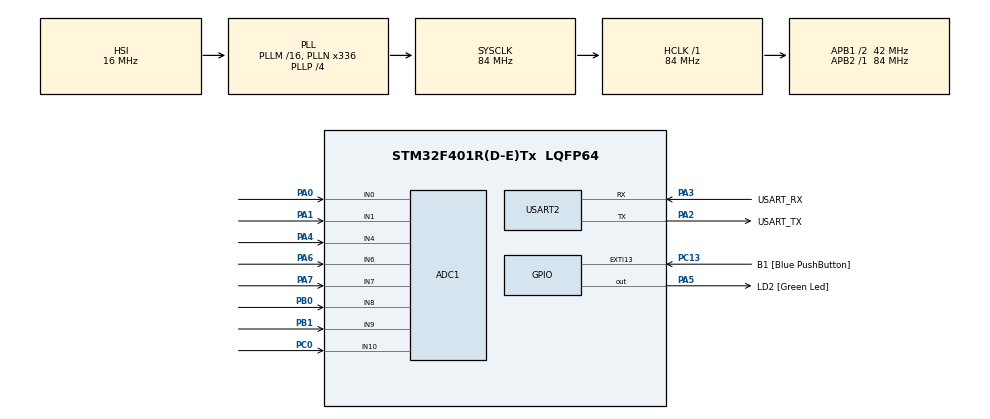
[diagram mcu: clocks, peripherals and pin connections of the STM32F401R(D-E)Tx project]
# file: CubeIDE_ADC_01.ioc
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Mcu.Family=STM32F4
PA2.GPIO_PuPd=GPIO_NOPULL
RCC.CortexFreq_Value=84000000
PA14.GPIO_Label=TCK
PA3.GPIO_PuPd=GPIO_NOPULL
PA2.GPIO_Speed=GPIO_SPEED_FREQ_LOW
PA3.GPIO_Speed=GPIO_SPEED_FREQ_LOW
RCC.SYSCLKSource=RCC_SYSCLKSOURCE_PLLCLK
ProjectManager.StackSize=0x400
PH0\ -\ OSC_IN.Signal=RCC_OSC_IN
RCC.HCLKFreq_Value=84000000
RCC.APB2TimFreq_Value=84000000
RCC.AHBFreq_Value=84000000
ADC1.Channel-0\#ChannelRegularConversion=ADC_CHANNEL_0
RCC.HSE_VALUE=8000000
PC13-ANTI_TAMP.Signal=GPXTI13
PC14-OSC32_IN.Mode=LSE-External-Oscillator
PA14.Mode=Serial_Wire
PA5.GPIO_PuPd=GPIO_NOPULL
SH.ADCx_IN8.0=ADC1_IN8,IN8
SH.ADCx_IN0.0=ADC1_IN0,IN0
ADC1.SamplingTime-0\#ChannelRegularConversion=ADC_SAMPLETIME_3CYCLES
Mcu.Package=LQFP64
PA6.Signal=ADCx_IN6
PB1.Signal=ADCx_IN9
USART2.VirtualMode=VM_ASYNC
PA2.GPIO_Label=USART_TX
SH.ADCx_IN9.0=ADC1_IN9,IN9
SH.ADCx_IN1.0=ADC1_IN1,IN1
RCC.APB1TimFreq_Value=84000000
PA3.Signal=USART2_RX
PA2.GPIO_Mode=GPIO_MODE_AF_PP
PB3.GPIO_Label=SWO
PC15-OSC32_OUT.Mode=LSE-External-Oscillator
ADC1.Rank-0\#ChannelRegularConversion=1
PC13-ANTI_TAMP.GPIO_PuPd=GPIO_NOPULL
SH.ADCx_IN6.0=ADC1_IN6,IN6
PC13-ANTI_TAMP.GPIO_Label=B1 [Blue PushButton]
PH1\ -\ OSC_OUT.Mode=HSE-External-Clock-Source
PC0.Signal=ADCx_IN10
RCC.APB1CLKDivider=RCC_HCLK_DIV2
PC14-OSC32_IN.Signal=RCC_OSC32_IN
PA0-WKUP.Signal=ADCx_IN0
PA13.Signal=SYS_JTMS-SWDIO
PA3.Mode=Asynchronous
PH0\ -\ OSC_IN.Mode=HSE-External-Clock-Source
ProjectManager.TargetToolchain=STM32CubeIDE
SH.ADCx_IN7.0=ADC1_IN7,IN7
PA3.GPIO_Mode=GPIO_MODE_AF_PP
PC15-OSC32_OUT.Signal=RCC_OSC32_OUT
PA1.Signal=ADCx_IN1
PA5.Signal=GPIO_Output
PH1\ -\ OSC_OUT.Signal=RCC_OSC_OUT
board=NUCLEO-F401RE
RCC.VCOOutputFreq_Value=336000000
RCC.APB2Freq_Value=84000000
SH.ADCx_IN4.0=ADC1_IN4,IN4
PA13.Mode=Serial_Wire
Mcu.Name=STM32F401R(D-E)Tx
PA13.GPIO_Label=TMS
PA2.Signal=USART2_TX
RCC.48MHZClocksFreq_Value=48000000
PB3.Signal=SYS_JTDO-SWO
PA4.Signal=ADCx_IN4
RCC.SYSCLKFreq_VALUE=84000000
ADC1.master=1
PA5.GPIO_Label=LD2 [Green Led]
PC13-ANTI_TAMP.GPIO_ModeDefaultEXTI=GPIO_MODE_IT_FALLING
PA14.Signal=SYS_JTCK-SWCLK
SH.ADCx_IN10.0=ADC1_IN10,IN10
ProjectManager.HeapSize=0x200
RCC.HSI_VALUE=16000000
RCC.PLLP=RCC_PLLP_DIV4
PA5.GPIO_Speed=GPIO_SPEED_FREQ_LOW
RCC.PLLQ=7
NVIC.PriorityGroup=NVIC_PRIORITYGROUP_0
ADC1.NbrOfConversionFlag=1
RCC.PLLN=336
PA2.Mode=Asynchronous
RCC.APB1Freq_Value=42000000
PA5.GPIO_Mode=GPIO_MODE_OUTPUT_PP
PB0.Signal=ADCx_IN8
PA3.GPIO_Label=USART_RX
PA7.Signal=ADCx_IN7

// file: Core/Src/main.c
/* USER CODE BEGIN Header */
/**
  ******************************************************************************
  * @file           : main.c
  * @brief          : Main program body
  ******************************************************************************
  * @attention
  *
  * <h2><center>&copy; Copyright (c) 2021 STMicroelectronics.
  * All rights reserved.</center></h2>
  *
  * This software component is licensed by ST under BSD 3-Clause license,
  * the "License"; You may not use this file except in compliance with the
  * License. You may obtain a copy of the License at:
  *                        opensource.org/licenses/BSD-3-Clause
  *
  ******************************************************************************
  */
/* USER CODE END Header */
#include "main.h"

/* USER CODE BEGIN Includes */
#include "stdio.h"
#include "string.h"
/* USER CODE END Includes */

ADC_HandleTypeDef hadc1;

UART_HandleTypeDef huart2;

void SystemClock_Config(void);
static void MX_GPIO_Init(void);
static void MX_USART2_UART_Init(void);
static void MX_ADC1_Init(void);

int main(void)
{
  /* USER CODE BEGIN 1 */
	unsigned char tmp_ch[100];
	uint32_t SS[10];
  /* USER CODE END 1 */

  /* MCU Configuration--------------------------------------------------------*/

  /* Reset of all peripherals, Initializes the Flash interface and the Systick. */
  HAL_Init();

  /* Configure the system clock */
  SystemClock_Config();

  /* Initialize all configured peripherals */
  MX_GPIO_Init();
  MX_USART2_UART_Init();
  MX_ADC1_Init();
  /* USER CODE BEGIN 2 */
  ADC_ChannelConfTypeDef sConfig0 = {0};
  sConfig0.Channel = ADC_CHANNEL_0;
  sConfig0.Rank = 1;
  sConfig0.SamplingTime = ADC_SAMPLETIME_3CYCLES;

  /* USER CODE END 2 */

  /* Infinite loop */
  /* USER CODE BEGIN WHILE */
  while (1)
  {
	  HAL_ADC_Stop(&hadc1);
	  sConfig0.Channel = ADC_CHANNEL_0;
	  HAL_ADC_ConfigChannel(&hadc1, &sConfig0);
	  HAL_ADC_Start(&hadc1);
	  //HAL_ADC_PollForConversion(&hadc1, 1);
	  while(!(__HAL_ADC_GET_FLAG(&hadc1, ADC_SR_EOC))){}
	  SS[0] = HAL_ADC_GetValue(&hadc1);
	  HAL_ADC_Stop(&hadc1);
	  HAL_Delay(1);

	  sConfig0.Channel = ADC_CHANNEL_1;
	  HAL_ADC_ConfigChannel(&hadc1, &sConfig0);
	  HAL_ADC_Start(&hadc1);
	  HAL_ADC_PollForConversion(&hadc1, 1);
	  //while(!(__HAL_ADC_GET_FLAG(&hadc1, ADC_SR_EOC))){}
	  SS[1] = HAL_ADC_GetValue(&hadc1);
	  HAL_ADC_Stop(&hadc1);
	  HAL_Delay(1);

	  sConfig0.Channel = ADC_CHANNEL_4;
	  HAL_ADC_ConfigChannel(&hadc1, &sConfig0);
	  HAL_ADC_Start(&hadc1);
	  HAL_ADC_PollForConversion(&hadc1, 1);
	  //while(!(__HAL_ADC_GET_FLAG(&hadc1, ADC_SR_EOC))){}
	  SS[2] = HAL_ADC_GetValue(&hadc1);
	  HAL_ADC_Stop(&hadc1);
	  HAL_Delay(1);

	  sConfig0.Channel = ADC_CHANNEL_6;
	  HAL_ADC_ConfigChannel(&hadc1, &sConfig0);
	  HAL_ADC_Start(&hadc1);
	  HAL_ADC_PollForConversion(&hadc1, 1);
	  SS[3] = HAL_ADC_GetValue(&hadc1);
	  HAL_ADC_Stop(&hadc1);

	  sConfig0.Channel = ADC_CHANNEL_7;
	  HAL_ADC_ConfigChannel(&hadc1, &sConfig0);
	  HAL_ADC_Start(&hadc1);
	  HAL_ADC_PollForConversion(&hadc1, 1);
	  SS[4] = HAL_ADC_GetValue(&hadc1);
	  HAL_ADC_Stop(&hadc1);

	  sConfig0.Channel = ADC_CHANNEL_8;
	  HAL_ADC_ConfigChannel(&hadc1, &sConfig0);
	  HAL_ADC_Start(&hadc1);
	  HAL_ADC_PollForConversion(&hadc1, 1);
	  SS[5] = HAL_ADC_GetValue(&hadc1);
	  HAL_ADC_Stop(&hadc1);

	  sConfig0.Channel = ADC_CHANNEL_9;
	  HAL_ADC_ConfigChannel(&hadc1, &sConfig0);
	  HAL_ADC_Start(&hadc1);
	  HAL_ADC_PollForConversion(&hadc1, 1);
	  SS[6] = HAL_ADC_GetValue(&hadc1);
	  HAL_ADC_Stop(&hadc1);

	  sConfig0.Channel = ADC_CHANNEL_10;
	  HAL_ADC_ConfigChannel(&hadc1, &sConfig0);
	  HAL_ADC_Start(&hadc1);
	  HAL_ADC_PollForConversion(&hadc1, 1);
	  SS[7] = HAL_ADC_GetValue(&hadc1);
	  HAL_ADC_Stop(&hadc1);

	  sprintf(&tmp_ch,"%d %d %d %d %d %d %d %d \n",SS[0],SS[1],SS[2],SS[3],SS[4],SS[5],SS[6],SS[7]);
	  HAL_UART_Transmit(&huart2, tmp_ch,strlen(tmp_ch), 1000);
	  HAL_Delay(100);
    /* USER CODE END WHILE */

  }
}

void SystemClock_Config(void)
{
  RCC_OscInitTypeDef RCC_OscInitStruct = {0};
  RCC_ClkInitTypeDef RCC_ClkInitStruct = {0};

  /** Configure the main internal regulator output voltage
  */
  __HAL_RCC_PWR_CLK_ENABLE();
  __HAL_PWR_VOLTAGESCALING_CONFIG(PWR_REGULATOR_VOLTAGE_SCALE2);
  /** Initializes the RCC Oscillators according to the specified parameters
  * in the RCC_OscInitTypeDef structure.
  */
  RCC_OscInitStruct.OscillatorType = RCC_OSCILLATORTYPE_HSI;
  RCC_OscInitStruct.HSIState = RCC_HSI_ON;
  RCC_OscInitStruct.HSICalibrationValue = RCC_HSICALIBRATION_DEFAULT;
  RCC_OscInitStruct.PLL.PLLState = RCC_PLL_ON;
  RCC_OscInitStruct.PLL.PLLSource = RCC_PLLSOURCE_HSI;
  RCC_OscInitStruct.PLL.PLLM = 16;
  RCC_OscInitStruct.PLL.PLLN = 336;
  RCC_OscInitStruct.PLL.PLLP = RCC_PLLP_DIV4;
  RCC_OscInitStruct.PLL.PLLQ = 7;
  if (HAL_RCC_OscConfig(&RCC_OscInitStruct) != HAL_OK)
  {
    Error_Handler();
  }
  /** Initializes the CPU, AHB and APB buses clocks
  */
  RCC_ClkInitStruct.ClockType = RCC_CLOCKTYPE_HCLK|RCC_CLOCKTYPE_SYSCLK
                              |RCC_CLOCKTYPE_PCLK1|RCC_CLOCKTYPE_PCLK2;
  RCC_ClkInitStruct.SYSCLKSource = RCC_SYSCLKSOURCE_PLLCLK;
  RCC_ClkInitStruct.AHBCLKDivider = RCC_SYSCLK_DIV1;
  RCC_ClkInitStruct.APB1CLKDivider = RCC_HCLK_DIV2;
  RCC_ClkInitStruct.APB2CLKDivider = RCC_HCLK_DIV1;

  if (HAL_RCC_ClockConfig(&RCC_ClkInitStruct, FLASH_LATENCY_2) != HAL_OK)
  {
    Error_Handler();
  }
}

static void MX_ADC1_Init(void)
{

  ADC_ChannelConfTypeDef sConfig = {0};

  /** Configure the global features of the ADC (Clock, Resolution, Data Alignment and number of conversion)
  */
  hadc1.Instance = ADC1;
  hadc1.Init.ClockPrescaler = ADC_CLOCK_SYNC_PCLK_DIV4;
  hadc1.Init.Resolution = ADC_RESOLUTION_12B;
  hadc1.Init.ScanConvMode = DISABLE;
  hadc1.Init.ContinuousConvMode = DISABLE;
  hadc1.Init.DiscontinuousConvMode = DISABLE;
  hadc1.Init.ExternalTrigConvEdge = ADC_EXTERNALTRIGCONVEDGE_NONE;
  hadc1.Init.ExternalTrigConv = ADC_SOFTWARE_START;
  hadc1.Init.DataAlign = ADC_DATAALIGN_RIGHT;
  hadc1.Init.NbrOfConversion = 1;
  hadc1.Init.DMAContinuousRequests = DISABLE;
  hadc1.Init.EOCSelection = ADC_EOC_SINGLE_CONV;
  if (HAL_ADC_Init(&hadc1) != HAL_OK)
  {
    Error_Handler();
  }
  /** Configure for the selected ADC regular channel its corresponding rank in the sequencer and its sample time.
  */
  sConfig.Channel = ADC_CHANNEL_0;
  sConfig.Rank = 1;
  sConfig.SamplingTime = ADC_SAMPLETIME_3CYCLES;
  if (HAL_ADC_ConfigChannel(&hadc1, &sConfig) != HAL_OK)
  {
    Error_Handler();
  }

}

static void MX_USART2_UART_Init(void)
{

  huart2.Instance = USART2;
  huart2.Init.BaudRate = 115200;
  huart2.Init.WordLength = UART_WORDLENGTH_8B;
  huart2.Init.StopBits = UART_STOPBITS_1;
  huart2.Init.Parity = UART_PARITY_NONE;
  huart2.Init.Mode = UART_MODE_TX_RX;
  huart2.Init.HwFlowCtl = UART_HWCONTROL_NONE;
  huart2.Init.OverSampling = UART_OVERSAMPLING_16;
  if (HAL_UART_Init(&huart2) != HAL_OK)
  {
    Error_Handler();
  }

}

static void MX_GPIO_Init(void)
{
  GPIO_InitTypeDef GPIO_InitStruct = {0};

  /* GPIO Ports Clock Enable */
  __HAL_RCC_GPIOC_CLK_ENABLE();
  __HAL_RCC_GPIOH_CLK_ENABLE();
  __HAL_RCC_GPIOA_CLK_ENABLE();
  __HAL_RCC_GPIOB_CLK_ENABLE();

  /*Configure GPIO pin Output Level */
  HAL_GPIO_WritePin(LD2_GPIO_Port, LD2_Pin, GPIO_PIN_RESET);

  /*Configure GPIO pin : B1_Pin */
  GPIO_InitStruct.Pin = B1_Pin;
  GPIO_InitStruct.Mode = GPIO_MODE_IT_FALLING;
  GPIO_InitStruct.Pull = GPIO_NOPULL;
  HAL_GPIO_Init(B1_GPIO_Port, &GPIO_InitStruct);

  /*Configure GPIO pin : LD2_Pin */
  GPIO_InitStruct.Pin = LD2_Pin;
  GPIO_InitStruct.Mode = GPIO_MODE_OUTPUT_PP;
  GPIO_InitStruct.Pull = GPIO_NOPULL;
  GPIO_InitStruct.Speed = GPIO_SPEED_FREQ_LOW;
  HAL_GPIO_Init(LD2_GPIO_Port, &GPIO_InitStruct);

}

void Error_Handler(void)
{
  __disable_irq();
  while (1)
  {
  }
}

/************************ (C) COPYRIGHT STMicroelectronics *****END OF FILE****/
